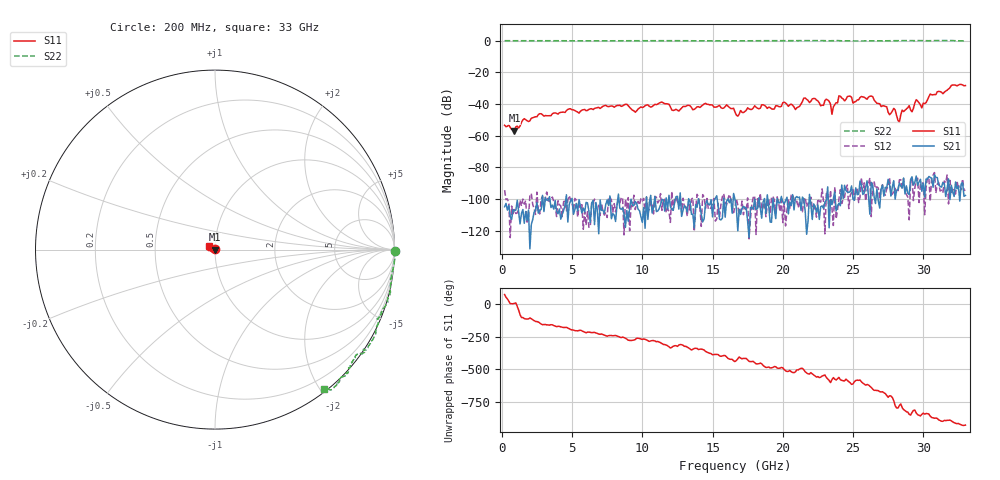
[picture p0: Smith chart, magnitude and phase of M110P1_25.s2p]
# GHZ S RI R 50
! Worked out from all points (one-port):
!   329 points, 200 MHz to 33 GHz, reference 50 ohm
!   lowest |S11| = -56.8 dB at 900 MHz (marker M1), VSWR 1.00, Z = 50.1 + j0.0151 ohm
!   |S11| at or under -10 dB: start of sweep to end of sweep
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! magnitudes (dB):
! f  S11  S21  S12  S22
! 200 MHz  -53.4  -105.0  -94.4  0.0
! 900 MHz  -56.8  -107.5  -106.7  0.0
! 2.7 GHz  -46.1  -107.2  -109.5  0.0
! 5.7 GHz  -43.9  -108.9  -103.6  -0.1
! 11.2 GHz  -39.4  -106.2  -101.0  0.0
! 16.6 GHz  -45.1  -100.3  -105.1  -0.1
! 20.1 GHz  -38.8  -103.1  -102.4  0.1
! 20.9 GHz  -43.5  -99.3  -102.2  0.1
! 22.1 GHz  -36.8  -113.0  -105.8  0.1
! 23.2 GHz  -37.5  -92.4  -95.9  0.0
! 23.5 GHz  -46.5  -103.6  -106.0  0.0
! 24 GHz  -34.9  -102.6  -99.9  0.0
! 26.3 GHz  -34.9  -89.6  -111.2  -0.2
! 27.6 GHz  -46.8  -90.6  -86.5  -0.1
! 27.9 GHz  -42.8  -88.4  -95.2  0.0
! 28.3 GHz  -51.4  -90.0  -87.9  0.0
! 28.5 GHz  -43.9  -93.0  -94.1  0.0
! 29.2 GHz  -44.9  -86.0  -86.5  0.0
! 29.5 GHz  -37.2  -85.6  -88.5  0.1
! 29.9 GHz  -42.5  -95.2  -89.9  0.0
! 30.5 GHz  -33.7  -86.3  -101.5  0.0
! 33 GHz  -28.4  -97.8  -94.4  -0.1
